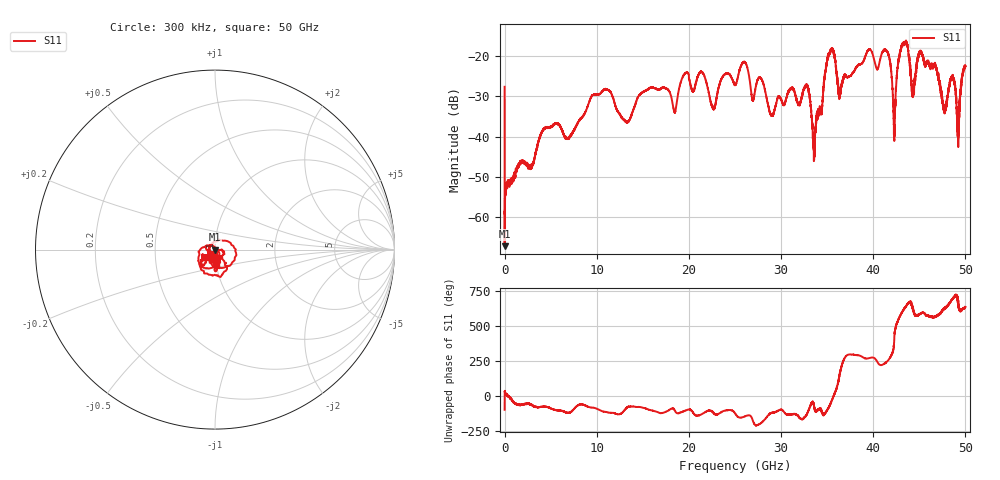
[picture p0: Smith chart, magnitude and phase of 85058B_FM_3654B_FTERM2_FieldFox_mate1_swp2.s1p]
!Created with skrf (http://scikit-rf.org).
# Hz S RI R 50.0
!freq ReS11 ImS11
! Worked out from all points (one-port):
!   10001 points, 300 kHz to 50 GHz, reference 50 ohm
!   lowest |S11| = -67.2 dB at 5.3 MHz (marker M1), VSWR 1.00, Z = 50 - j0.0369 ohm
!   |S11| at or under -10 dB: start of sweep to end of sweep
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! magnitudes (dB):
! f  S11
! 300 kHz  -27.7
! 5.3 MHz  -67.2
! 255.3 MHz  -52.1
! 6.25 GHz  -38.4
! 10.91 GHz  -28.2
! 12.5 GHz  -34.4
! 18.75 GHz  -30.4
! 19.69 GHz  -24.2
! 22.65 GHz  -33.0
! 25 GHz  -27.2
! 26.07 GHz  -21.5
! 28.99 GHz  -34.6
! 31.25 GHz  -27.9
! 32.85 GHz  -27.6
! 33.59 GHz  -45.8
! 35.32 GHz  -19.1
! 36.35 GHz  -29.4
! 37.5 GHz  -25.0
! 41.37 GHz  -18.6
! 42.29 GHz  -41.1
! 42.96 GHz  -18.9
! 43.75 GHz  -17.9
! 44.29 GHz  -28.1
! 45.17 GHz  -19.2
! 47.72 GHz  -32.7
! 48.64 GHz  -25.5
! 49.21 GHz  -40.8
! 50 GHz  -22.6
